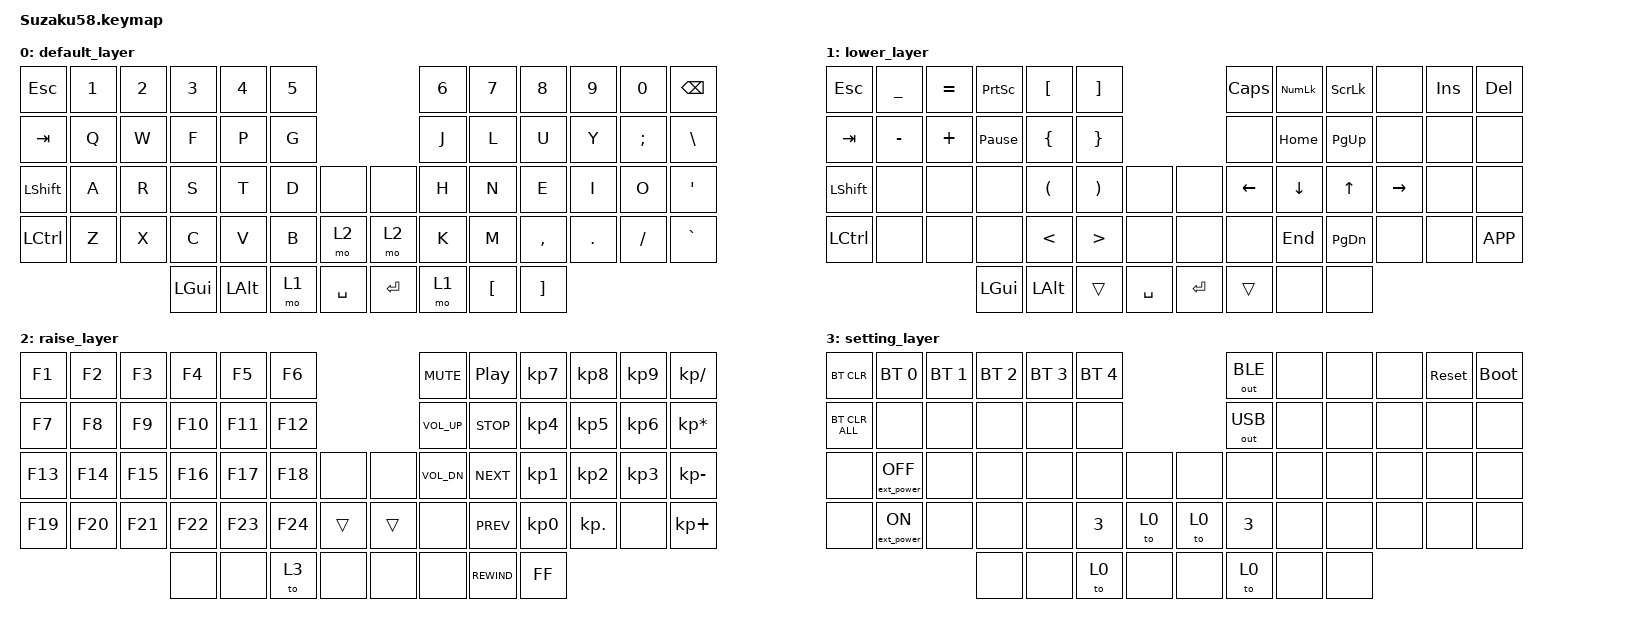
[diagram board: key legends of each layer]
/*
 * Copyright (c) 2022 The ZMK Contributors
 *
 * SPDX-License-Identifier: MIT
 */

#include <behaviors.dtsi>
#include <dt-bindings/zmk/keys.h>
#include <dt-bindings/zmk/bt.h>
#include <dt-bindings/zmk/outputs.h>
#include <dt-bindings/zmk/ext_power.h>

#define TIMEOUT 50

/ {
    combos {
        compatible = "zmk,combos";
        combo_layer0 {
            timeout-ms = <50>;
            key-positions = <1 2 3>;
            bindings = <&bt BT_CLR>;
        };
        combo_layer1 {
            timeout-ms = <50>;
            key-positions = <4 5>;
            bindings = <&bt BT_SEL 0>;
        };
    };

    keymap {
        compatible = "zmk,keymap";
 
        default_layer {
            bindings = <
&kp ESC             &kp N1              &kp N2              &kp N3              &kp N4              &kp N5                                              &kp N6              &kp N7              &kp N8              &kp N9              &kp N0              &kp BSPC
&kp TAB             &kp Q               &kp W               &kp F               &kp P               &kp G                                               &kp J               &kp L               &kp U               &kp Y               &kp SEMI            &kp BSLH
&kp LSHFT           &kp A               &kp R               &kp S               &kp T               &kp D               &none      &none                &kp H               &kp N               &kp E               &kp I               &kp O               &kp SQT
&kp LCTRL           &kp Z               &kp X               &kp C               &kp V               &kp B               &mo 2      &mo 2                &kp K               &kp M               &kp COMMA           &kp DOT             &kp FSLH            &kp GRAVE
                                                            &kp LGUI            &kp LALT            &mo 1               &kp SPACE  &kp RET              &mo 1               &kp LBKT            &kp RBKT 
            >;
        };

        lower_layer {
            bindings = <
&kp ESC             &kp UNDER           &kp EQUAL           &kp PSCRN           &kp LBKT            &kp RBKT                                            &kp CAPS            &kp KP_NLCK         &kp SLCK            &none               &kp INS             &kp DEL
&kp TAB             &kp MINUS           &kp PLUS            &kp PAUSE_BREAK     &kp LBRC            &kp RBRC                                            &none               &kp HOME            &kp PG_UP           &none               &none               &none
&kp LSHFT           &none               &none               &none               &kp LPAR            &kp RPAR            &none      &none                &kp LEFT            &kp DOWN            &kp UP              &kp RIGHT           &none               &none
&kp LCTRL           &none               &none               &none               &kp LT              &kp GT              &none      &none                &none               &kp END             &kp PG_DN           &none               &none               &kp K_APP
                                                            &kp LGUI            &kp LALT            &trans              &kp SPACE  &kp RET              &trans              &none               &none
            >;
        };

        raise_layer {
            bindings = <
&kp F1              &kp F2              &kp F3              &kp F4              &kp F5              &kp F6                                              &kp C_MUTE          &kp C_PP            &kp KP_N7           &kp KP_N8           &kp KP_N9           &kp KP_SLASH
&kp F7              &kp F8              &kp F9              &kp F10             &kp F11             &kp F12                                             &kp C_VOL_UP        &kp C_STOP          &kp KP_N4           &kp KP_N5           &kp KP_N6           &kp KP_MULTIPLY
&kp F13             &kp F14             &kp F15             &kp F16             &kp F17             &kp F18             &none       &none               &kp C_VOL_DN        &kp C_NEXT          &kp KP_N1           &kp KP_N2           &kp KP_N3           &kp KP_MINUS
&kp F19             &kp F20             &kp F21             &kp F22             &kp F23             &kp F24             &trans      &trans              &none               &kp C_PREV          &kp KP_N0           &kp KP_DOT          &none               &kp KP_PLUS
                                                            &none               &none               &to 3               &none       &none               &none               &kp C_REWIND        &kp C_FF
            >;
        };

        setting_layer {
            bindings = <
&bt BT_CLR          &bt BT_SEL 0        &bt BT_SEL 1        &bt BT_SEL 2        &bt BT_SEL 3        &bt BT_SEL 4                                        &out OUT_BLE        &none               &none               &none               &sys_reset          &bootloader
&bt BT_CLR_ALL      &none               &none               &none               &none               &none                                               &out OUT_USB        &none               &none               &none               &none               &none
&none               &ext_power EP_OFF   &none               &none               &none               &none               &none       &none               &none               &none               &none               &none               &none               &none
&none               &ext_power EP_ON    &none               &none               &none               &kp N3              &to 0       &to 0               &kp N3              &none               &none               &none               &none               &none
                                                            &none               &none               &to 0               &none       &none               &to 0               &none               &none
            >;
        };
    };
};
